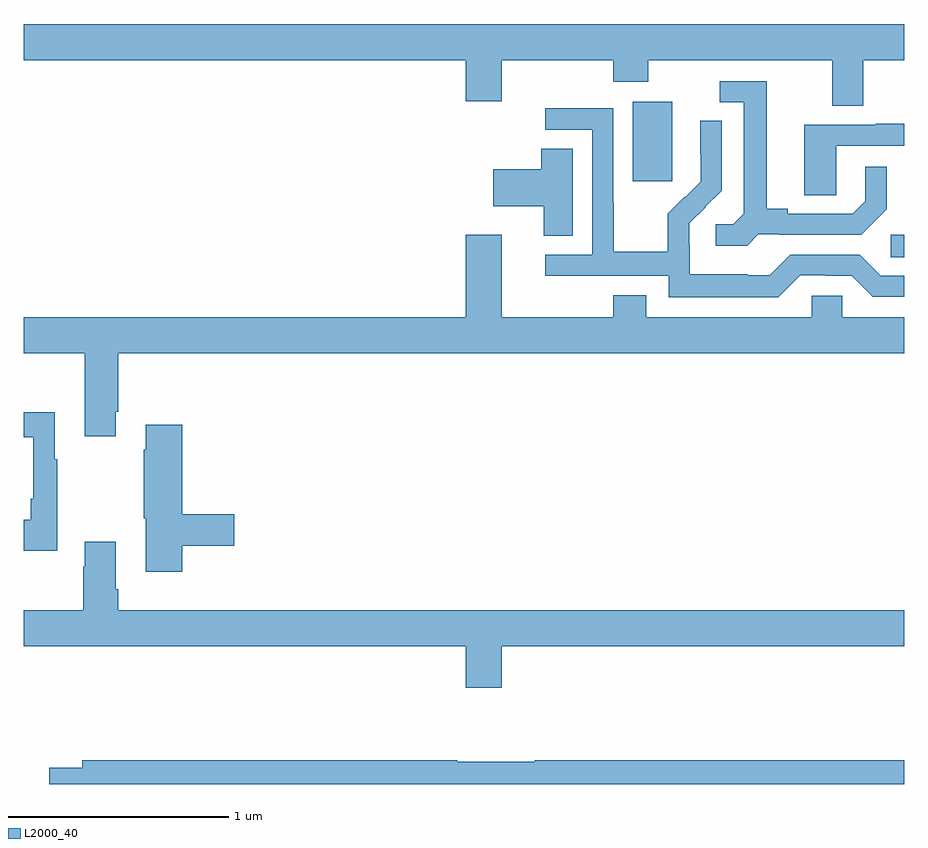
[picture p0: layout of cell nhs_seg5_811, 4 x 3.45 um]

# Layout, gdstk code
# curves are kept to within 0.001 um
import gdstk
lib = gdstk.Library(unit=1e-6, precision=1e-09)
def R(c, l, rs):  # rectangles x0, y0, x1, y1
    for r in rs: c.add(gdstk.rectangle(r[:2], r[2:], *l))
def P(c, l, *ps):  # polygons
    for p in ps: c.add(gdstk.Polygon(p, *l))
L2000_40 = (2000, 40)

nhs_seg5_811 = lib.new_cell('nhs_seg5_811')
R(nhs_seg5_811, L2000_40, [(166.938,861.193,167,861.294), (165.767,861.537,165.946,861.898)])
P(nhs_seg5_811, L2000_40, [(166.813,862.088),(167,862.088),(167,862.252),(163,862.252),(163,862.088),(165.008,862.088),(165.008,861.9),(165.172,861.9),(165.172,862.088),(165.677,862.088),(165.677,861.989),(165.837,861.989),(165.837,862.088),(166.673,862.088),(166.673,861.88),(166.813,861.88)],
  [(166.338,861.297),(166.432,861.297),(166.432,861.294),(166.804,861.294),(166.92,861.41),(166.92,861.604),(166.823,861.604),(166.823,861.447),(166.766,861.39),(166.471,861.39),(166.471,861.413),(166.375,861.413),(166.375,861.993),(166.161,861.993),(166.161,861.897),(166.271,861.897),(166.271,861.389),(166.224,861.342),(166.143,861.342),(166.143,861.245),(166.286,861.245)],
  [(166.527,861.111),(166.643,861.111),(166.643,861.108),(166.761,861.108),(166.857,861.012),(167,861.012),(167,861.108),(166.893,861.108),(166.797,861.204),(166.482,861.204),(166.389,861.111),(166.289,861.111),(166.289,861.115),(166.026,861.115),(166.026,861.249),(166.024,861.249),(166.024,861.346),(166.17,861.494),(166.17,861.812),(166.074,861.812),(166.074,861.658),(166.076,861.658),(166.076,861.536),(166.005,861.465),(166.002,861.468),(165.925,861.391),(165.925,861.217),(165.681,861.217),(165.681,861.44),(165.678,861.44),(165.678,861.87),(165.369,861.87),(165.369,861.771),(165.582,861.771),(165.582,861.204),(165.369,861.204),(165.369,861.108),(165.93,861.108),(165.93,861.011),(166.427,861.011)],
  [(166.692,861.699),(167,861.699),(167,861.799),(166.871,861.799),(166.871,861.795),(166.547,861.795),(166.547,861.475),(166.692,861.475)],
  [(165.493,861.686),(165.35,861.686),(165.35,861.591),(165.132,861.591),(165.132,861.425),(165.362,861.425),(165.362,861.289),(165.493,861.289)],
  [(163.417,860.491),(163.43,860.491),(163.43,860.756),(167,860.756),(167,860.92),(166.719,860.92),(166.719,861.018),(166.581,861.018),(166.581,860.92),(165.829,860.92),(165.829,861.019),(165.677,861.019),(165.677,860.92),(165.172,860.92),(165.172,861.295),(165.008,861.295),(165.008,860.92),(163,860.92),(163,860.756),(163.277,860.756),(163.277,860.379),(163.417,860.379)],
  [(163.153,860.275),(163.141,860.275),(163.141,860.488),(163,860.488),(163,860.375),(163.044,860.375),(163.044,860.095),(163.032,860.095),(163.032,859.999),(163,859.999),(163,859.859),(163.153,859.859)],
  [(163.721,859.882),(163.957,859.882),(163.957,860.024),(163.721,860.024),(163.721,860.431),(163.553,860.431),(163.553,860.318),(163.546,860.318),(163.546,860.007),(163.553,860.007),(163.553,859.764),(163.721,859.764)],
  [(163.43,859.684),(163.417,859.684),(163.417,859.9),(163.277,859.9),(163.277,859.787),(163.27,859.787),(163.27,859.588),(163,859.588),(163,859.424),(165.008,859.424),(165.008,859.236),(165.172,859.236),(165.172,859.424),(167,859.424),(167,859.588),(163.43,859.588)],
  [(167,858.908),(165.322,858.908),(165.322,858.901),(164.969,858.901),(164.969,858.908),(163.265,858.908),(163.265,858.872),(163.116,858.872),(163.116,858.799),(167,858.799)])

lib.write_gds('nhs_seg5_811.gds')
